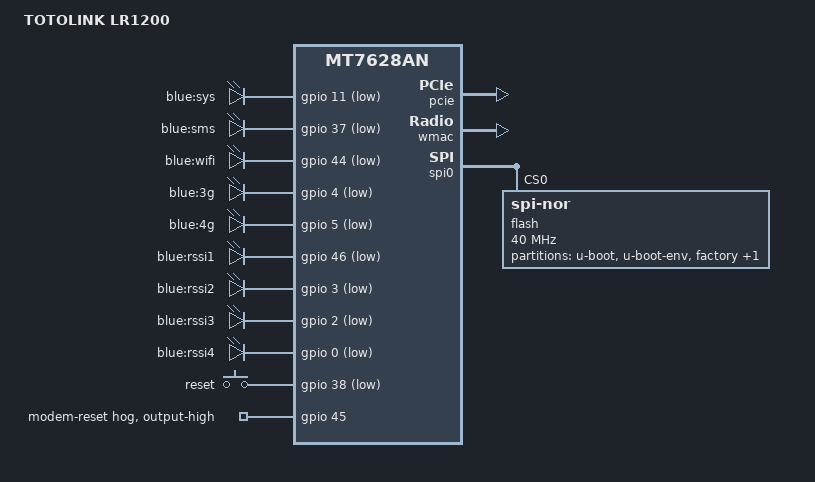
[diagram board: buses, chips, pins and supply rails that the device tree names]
// SPDX-License-Identifier: GPL-2.0-or-later OR MIT

#include "mt7628an.dtsi"

#include <dt-bindings/gpio/gpio.h>
#include <dt-bindings/input/input.h>

/ {
	compatible = "totolink,lr1200", "mediatek,mt7628dan";
	model = "TOTOLINK LR1200";

	aliases {
		led-boot = &led_sys;
		led-failsafe = &led_sys;
		led-running = &led_sys;
		led-upgrade = &led_sys;
	};

	leds {
		compatible = "gpio-leds";

		led_sys: sys {
			label = "blue:sys";
			gpios = <&gpio 11 GPIO_ACTIVE_LOW>;
		};

		sms {
			label = "blue:sms";
			gpios = <&gpio 37 GPIO_ACTIVE_LOW>;
		};

		wifi {
			label = "blue:wifi";
			gpios = <&gpio 44 GPIO_ACTIVE_LOW>;
			linux,default-trigger = "phy0tpt";
		};

		3g {
			label = "blue:3g";
			gpios = <&gpio 4 GPIO_ACTIVE_LOW>;
		};

		4g {
			label = "blue:4g";
			gpios = <&gpio 5 GPIO_ACTIVE_LOW>;
		};

		rssi1 {
			label = "blue:rssi1";
			gpios = <&gpio 46 GPIO_ACTIVE_LOW>;
		};

		rssi2 {
			label = "blue:rssi2";
			gpios = <&gpio 3 GPIO_ACTIVE_LOW>;
		};

		rssi3 {
			label = "blue:rssi3";
			gpios = <&gpio 2 GPIO_ACTIVE_LOW>;
		};

		rssi4 {
			label = "blue:rssi4";
			gpios = <&gpio 0 GPIO_ACTIVE_LOW>;
		};
	};

	keys {
		compatible = "gpio-keys";

		reset {
			label = "reset";
			gpios = <&gpio 38 GPIO_ACTIVE_LOW>;
			linux,code = <KEY_RESTART>;
		};
	};
};

&gpio {
	gpio_modem_reset {
		gpio-hog;
		gpios = <45 GPIO_ACTIVE_HIGH>;
		output-high;
		line-name = "modem-reset";
	};
};

&state_default {
	gpio {
		groups = "gpio", "i2c", "i2s", "refclk", "uart1", "wdt", "wled_an";
		function = "gpio";
	};
};

&pcie {
	status = "okay";
};

&pcie0 {
	mt76@0,0 {
		reg = <0x0000 0 0 0 0>;
		mediatek,mtd-eeprom = <&factory 0x8000>;
		ieee80211-freq-limit = <5000000 6000000>;
	};
};

&wmac {
	status = "okay";
};

&ethernet {
	mtd-mac-address = <&factory 0x28>;
};

&spi0 {
	status = "okay";

	flash@0 {
		compatible = "jedec,spi-nor";
		reg = <0>;
		spi-max-frequency = <40000000>;

		partitions {
			compatible = "fixed-partitions";
			#address-cells = <1>;
			#size-cells = <1>;

			partition@0 {
				label = "u-boot";
				reg = <0x0 0x30000>;
				read-only;
			};

			partition@30000 {
				label = "u-boot-env";
				reg = <0x30000 0x10000>;
				read-only;
			};

			factory: partition@40000 {
				label = "factory";
				reg = <0x40000 0x10000>;
				read-only;
			};

			partition@50000 {
				compatible = "denx,uimage";
				label = "firmware";
				reg = <0x50000 0x7b0000>;
			};
		};
	};
};
